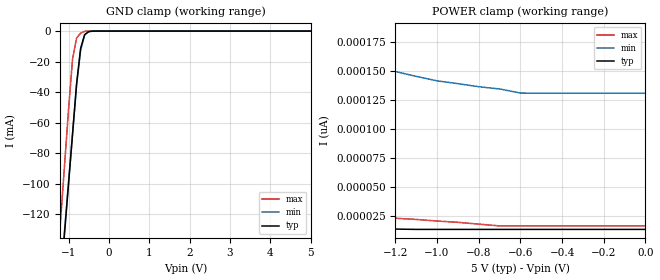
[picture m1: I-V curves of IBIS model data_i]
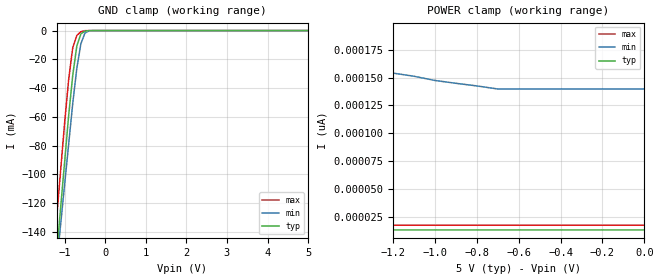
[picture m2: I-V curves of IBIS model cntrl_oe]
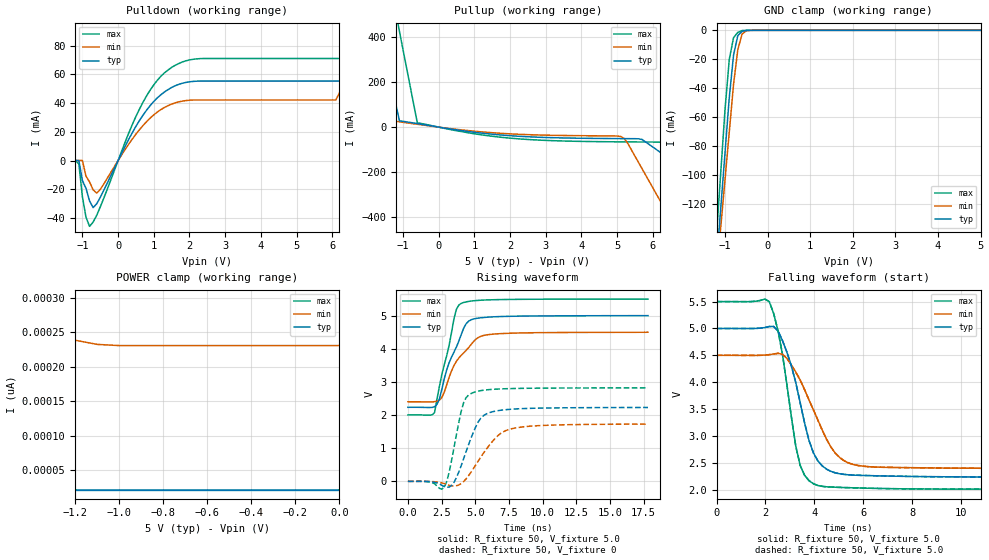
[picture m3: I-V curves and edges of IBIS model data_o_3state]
|   ON Semiconductor Corporation
|   IBIS Model of MC74VHCT574DW
|   Octal D-Type Flip Flop with 3-State Output
|   SO-20 (DW) Package Type
[IBIS Ver]   3.2
[Comment Char]   |_char
[File name]   mc74vhct574dw_c450.ibs
[File Rev]   1.0
[Date]   05/25/04
[Source]
From lab measurements at ON Semiconductor
[Notes]
Created by Duane Mattheisen
Modeling Support Engineer
| This model represents the MC74VHCT574dw where 4.5<= Vcc =< 5.5
[Disclaimer]
ON Semiconductor Corporation hereby grants
the user of this IBIS model a license to use this IBIS
model under the following terms. This license in non-exclusive
and non-transferable. Before using this IBIS model. After reading
the terms and conditions of this license, the user either must accept
these terms, or the IBIS model should be returned to ON within 30 days.
     The user is hereby granted a license to use the
IBIS model. This shall not be construed as a right to sell, or otherwise
profit either by leasing or renting this software.
     The user may modify the IBIS model to suit his specific applications
but rights to derivative works and such modifications shall belong to
ON Semiconductor.
     This IBIS model is provided on an "as is" basis. ON Semiconductor
makes absolutely no warranty with respect to the information contained
herein. By use of this IBIS model, the user assumes full risk as to the
quality and suitablility of the model to his particular use, and by using
this model assumes the entire risk. Under all circumstances the user shall
not hold ON Semiconductor liable in any way for the results obtained. ON
Semiconductor reserves the right to make to improve the model for reliability,
function, or design. ON Semiconductor does not convey any license under patent
rights or any other intellectual property rights, including those of third
parties.
ON Semiconductor is not obligated to provide maintenance or support
for the licensed IBIS model.
Cont ON at ATTN:LOGIC APPLICATIONS/IBIS MODEL.
5005 E. McDowell Road, Phoenix AZ 85008
[Copyright]
(c) 2002 ON Semiconductor Corp.
[Component]   MC74VHCT574dw
Si_location Pin
Timing_location Pin
[Manufacturer]   ON Semiconductor Corp.
[Package]
|   typ   min   max
R_pkg   0.178   0.17   0.186
L_pkg   4.50nH   3.51nH   5.37nH
C_pkg   0.61pF   0.56pF   0.68pF
[Pin] signal_name   model_name   R_pin   L_pin   C_pin
1   1OE   cntrl_oe   .186   5.37nH   .68pF
2   1D0   data_i   .182   4.89nH   .65pF
3   2O0   data_o_3state   .178   4.42nH   .62pF
4   1D1   data_i   .174   3.96nH   .59pF
5   2O1   data_o_3state   .17   3.51nH   .56pF
6   1D2   data_i   .17   3.51nH   .56pF
7   2O2   data_o_3state   .174   3.96nH   .59pF
8   1D3   data_i   .178   4.42nH   .62pF
9   2O3   data_o_3state   .182   4.89nH   .65pF
10   GND   GND   .186   5.37nH   .68pF
11   2D3   data_i   .186   5.37nH   .68pF
12   1O3   data_o_3state   .182   4.89nH   .65pF
13   2D2   data_i   .178   4.42nH   .62pF
14   1O2   data_o_3state   .174   3.96nH   .59pF
15   2D1   data_i   .17   3.51nH   .56pF
16   1O1   data_o_3state   .17   3.51nH   .56pF
17   2D0   data_i   .174   3.96nH   .59pF
18   1O0   data_o_3state   .178   4.42nH   .62pF
19   2OE   cntrl_oe   .182   4.89nH   .65pF
20   VCC   POWER   .186   5.37nH   .68pF
| Models and submodels in the file (3): data_i (Input), cntrl_oe (Input), data_o_3state (3-state)
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[Model]   data_i
Model_type Input
Vinh=2.0
Vinl=0.8
| variable   typ   min   max
C_comp   4.0pf   4.0pf   4.0pf
[Temperature Range] 25   85   -40
[Voltage Range]   5.0   4.5   5.5
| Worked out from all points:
|   GND clamp passes 1 mA (typ) near -0.53 V on its own axis
[GND Clamp]
|Voltage   I(typ)   I(min)   I(max)
-5V       -1.413A    -1.371A    -1.521A
-1.3V     -198.6mA   -194.6mA   -161.8mA
-1.2V     -165.8mA   -162.8mA   -125.1mA
-1.1V     -133mA     -131mA     -88.39mA
-1V       -100.2mA   -99.21mA   -51.66mA
-900mV    -67.4mA    -67.4mA    -18.35mA
-800mV    -34.59mA   -35.59mA   -4.654mA
-700mV    -11.34mA   -12.53mA   -1.318mA
-600mV    -2.299mA   -2.432mA   -143.9uA
-500mV    -380.2uA   -321.4uA   -2.441uA
-400mV    -24.22uA   -23uA      -20.64nA
5V        15.59pA    59.87pA    25.3pA
[POWER Clamp]
|voltage   I(typ)   I(min)   I(max)
-5V       7.272nA    3.303nA    11.79nA
-2.7V     45.25pA    225.4pA    142.5pA
-2.6V     38.16pA    216.2pA    116.7pA
-2.5V     32.57pA    210pA      95.98pA
-2.4V     28.22pA    203.6pA    80.24pA
-2.2V     22.28pA    191pA      57.83pA
-2.1V     20.22pA    186.5pA    50.04pA
-1.8V     16.43pA    172.7pA    35.39pA
-1.6V     15.14pA    162.6pA    29.44pA
-1V       13.33pA    141.6pA    20.56pA
-600mV    13.33pA    131.1pA    16.36pA
0V        13.33pA    130.9pA    16.36pA
[Model]   cntrl_oe
Model_type Input
Vinh=2.0
Vinl=0.8
| variable   typ   min   max
C_comp   4.0pf   4.0pf   4.0pf
[Temperature Range] 25   85   -40
[Voltage Range]   5.0   4.5   5.5
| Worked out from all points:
|   GND clamp passes 1 mA (typ) near -0.53 V on its own axis
[GND Clamp]
|voltage   I(typ)   I(min)   I(max)
-5V       -1.39A     -1.236A    -1.409A
-1.3V     -188.7mA   -191.7mA   -165mA
-1.2V     -156.3mA   -163.5mA   -131.4mA
-1.1V     -123.8mA   -135.3mA   -97.74mA
-1V       -91.32mA   -107mA     -64.13mA
-900mV    -58.85mA   -78.81mA   -33.84mA
-800mV    -31.02mA   -50.59mA   -11.79mA
-700mV    -10.73mA   -26.28mA   -3.326mA
-600mV    -2.313mA   -9.151mA   -825.6uA
-500mV    -391.2uA   -1.749mA   -59.56uA
-300mV    -745.7nA   -13.96uA   -9.017nA
5V        14.67pA    110.6pA    11.85pA
[POWER Clamp]
|voltage   I(typ)   I(min)   I(max)
-5V       6.046nA    3.013nA    9.124nA
-3.5V     199.5pA    334.5pA    346.2pA
-3.3V     125.1pA    304.6pA    215.4pA
-3.2V     100.1pA    287.3pA    169.5pA
-3.1V     80.31pA    274.3pA    134.7pA
-2.9V     53.38pA    250.2pA    85.23pA
-2.7V     37.18pA    232.9pA    55.49pA
-2.5V     27.51pA    219.2pA    37.65pA
-2.1V     18.87pA    194.2pA    23.19pA
-1.9V     16.45pA    182.2pA    17.5pA
-700mV    13.28pA    139.7pA    17.5pA
0V        13.28pA    139.7pA    17.5pA
[Model]   data_o_3state
Model_type 3-state
Enable Active-Low
Polarity Non-Inverting
Vref=0
Vmeas=1.5
Rref=1000
Cref=50p
| variable   typ   min   max
C_comp   8.0pf   8.0pf   8.0pf
[Temperature Range] 25   85   -40
[Voltage Range]   5.0   4.5   5.5
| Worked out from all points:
|   slope of the pulldown table from 0 to 0.75 V, typ, clamps not added: 22.4 ohm
|   slope of the pullup table from 0 to 0.75 V, typ, clamps not added: 42.2 ohm
|   GND clamp passes 1 mA (typ) near -0.61 V on its own axis
|   falling waveform, R_fixture 50, V_fixture 5.0: 20-80 % time 925ps typ, 1.28ns min, 713ps max; typ from 5 V to 2.23 V
|   falling waveform, R_fixture 50, V_fixture 5.0: 20-80 % time 925ps typ, 1.28ns min, 713ps max; typ from 5 V to 2.23 V
|   rising waveform, R_fixture 50, V_fixture 5.0: 20-80 % time 1.45ns typ, 1.79ns min, 1.11ns max; typ from 2.23 V to 5 V
|   rising waveform, R_fixture 50, V_fixture 0: 20-80 % time 1.28ns typ, 1.9ns min, 847ps max; typ from 0 V to 2.23 V
[Pullup]
|voltage   I(typ)   I(min)   I(max)
-5V       2.677A     2.39A      2.995A
-2.4V     968.3mA    487.6mA    1.476A
-2.3V     895.9mA    423mA      1.395A
-1.7V     461.8mA    35.39mA    909.3mA
-1.2V     99.99mA    25.58mA    504.7mA
-1.1V     27.63mA    23.47mA    423.7mA
-600mV    15.71mA    12.72mA    19.06mA
5.1V      -50.89mA   -41.39mA   -65.22mA
5.7V      -54.83mA   -185.1mA   -65.81mA
6.3V      -121.8mA   -353.3mA   -70.53mA
6.7V      -166.4mA   -465.4mA   -134.4mA
10V       -580.3mA   -1.458A    -855.9mA
[Pulldown]
|voltage   I(typ)   I(min)   I(max)
-5V       -96.86nA   298nA      394.9nA
-1.2V     -96.86nA   298nA      394.9nA
-1.1V     -96.86nA   298nA      -2.335mA
-1V       -14mA      298nA      -25.3mA
-800mV    -28.22mA   -14.98mA   -45.96mA
-500mV    -25.73mA   -20.22mA   -32.38mA
700mV     31.7mA     24.44mA    40.76mA
1.6V      52.17mA    40.21mA    66.42mA
6.1V      55.4mA     42.22mA    71.16mA
6.4V      67.57mA    64.49mA    71.16mA
6.6V      91.6mA     82.02mA    94.34mA
10V       408.5mA    297.9mA    452.5mA
[GND Clamp]
|voltage   I(typ)   I(min)   I(max)
-5V       -1.669A    -1.443A    -1.905A
-1.2V     -160mA     -168.2mA   -141mA
-1.1V     -122mA     -135.4mA   -97.66mA
-1V       -84.11mA   -102.6mA   -54.36mA
-900mV    -46.18mA   -69.85mA   -19.88mA
-800mV    -16.95mA   -37.05mA   -5.014mA
-700mV    -3.623mA   -13.26mA   -1.435mA
-600mV    -686.7uA   -2.573mA   -157.1uA
-500mV    -58.26uA   -338.7uA   -2.739uA
-400mV    -1.713uA   -24.18uA   -23.31nA
5V        -36.18pA   14.85pA    -8.67pA
[POWER Clamp]
|voltage   I(typ)   I(min)   I(max)
-5V       4.655nA    2.982nA    7.679nA
-3.8V     329.4pA    651.5pA    532.3pA
-3.7V     264.2pA    603.7pA    422.7pA
-3.6V     211.6pA    563pA      334.5pA
-3.5V     171.3pA    529.9pA    265.2pA
-3.4V     139pA      501.2pA    212.6pA
-3.2V     93.49pA    452.2pA    135pA
-3V       65.33pA    414pA      88.44pA
-2.7V     42.12pA    372.2pA    50.57pA
-2V       24.41pA    298.7pA    24.11pA
-1.1V     20.74pA    232.2pA    21.29pA
0V        20.74pA    230.5pA    21.29pA
[Ramp]
dV/dt_r   1.34E+00/1.26E-09  1.04E+00/1.98E-09  1.69E+00/9.00E-10
dV/dt_f   1.66E+00/9.00E-10  1.26E+00/1.26E-09   2.10E+00/7.20E-10
[Falling Waveform]
R_fixture=50
C_fixture=0p
V_fixture=5.0
V_fixture_min=4.5
V_fixture_max=5.5
|Time   Typ   Min   Max
|SECONDS   VOLTS   VOLTS   VOLTS
0s        5V         4.5V       5.5V
2.16ns    5.036V     4.512V     5.497V
2.34ns    5.036V     4.525V     5.274V
2.7ns     4.771V     4.517V     4.509V
3.24ns    3.993V     4.188V     2.809V
3.42ns    3.619V     4.041V     2.45V
3.96ns    2.685V     3.486V     2.11V
4.86ns    2.311V     2.677V     2.044V
5.76ns    2.267V     2.451V     2.031V
17.82ns   2.231V     2.393V     2.008V
[Falling Waveform]
R_fixture=50
C_fixture=0p
V_fixture=5.0
V_fixture_min=4.5
V_fixture_max=5.5
|Time   Typ   Min   Max
|SECONDS   VOLTS   VOLTS   VOLTS
0s        5V         4.5V       5.5V
2.16ns    5.036V     4.512V     5.497V
2.34ns    5.036V     4.525V     5.274V
2.7ns     4.771V     4.517V     4.509V
3.24ns    3.993V     4.188V     2.809V
3.42ns    3.619V     4.041V     2.45V
3.96ns    2.685V     3.486V     2.11V
4.86ns    2.311V     2.677V     2.044V
5.76ns    2.267V     2.451V     2.031V
17.82ns   2.231V     2.393V     2.008V
[Rising Waveform]
R_fixture=50
C_fixture=0p
V_fixture=5.0
V_fixture_min=4.5
V_fixture_max=5.5
|Time   Typ   Min   Max
|SECONDS   VOLTS   VOLTS   VOLTS
0s        2.235V     2.401V     2.005V
1.98ns    2.252V     2.405V     2.079V
2.52ns    2.78V      2.53V      3.227V
2.88ns    3.365V     2.916V     3.791V
3.42ns    3.9V       3.493V     4.909V
3.6ns     4.054V     3.622V     5.191V
3.96ns    4.432V     3.804V     5.371V
4.5ns     4.831V     4.033V     5.429V
5.94ns    4.954V     4.425V     5.475V
17.82ns   5V         4.5V       5.5V
[Rising Waveform]
R_fixture=50
C_fixture=0p
V_fixture=0
|Time   Typ   Min   Max
|SECONDS   VOLTS   VOLTS   VOLTS
0s        0V         0V         0V
2.7ns     -159.4mV   -65.86mV   -176mV
3.06ns    -172.3mV   -118.3mV   273.2mV
3.42ns    -29.21mV   -138.4mV   1.016V
4.14ns    688.9mV    -3.434mV   2.377V
4.86ns    1.482V     385.9mV    2.68V
5.76ns    2.022V     938mV      2.757V
6.66ns    2.131V     1.372V     2.785V
7.56ns    2.173V     1.573V     2.798V
17.82ns   2.229V     1.728V     2.82V
